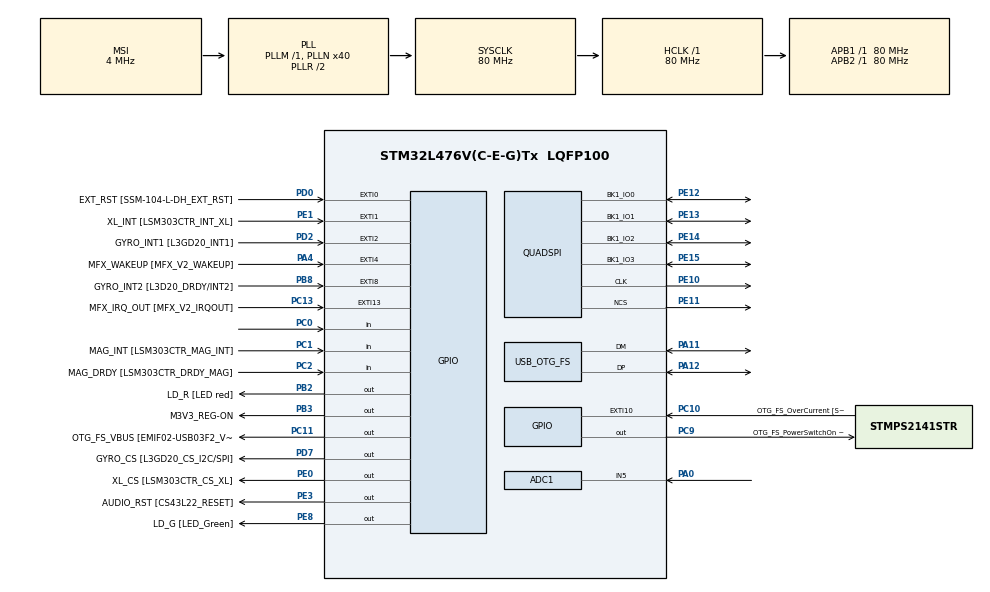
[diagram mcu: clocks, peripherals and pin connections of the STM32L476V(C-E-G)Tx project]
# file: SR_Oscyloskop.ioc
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ADC1.Channel-9\#ChannelRegularConversion=ADC_CHANNEL_5
ADC1.ContinuousConvMode=DISABLE
ADC1.EOCSelection=ADC_EOC_SINGLE_CONV
ADC1.ExternalTrigConv=ADC_SOFTWARE_START
ADC1.NbrOfConversion=1
ADC1.NbrOfConversionFlag=1
ADC1.OffsetNumber-9\#ChannelRegularConversion=ADC_OFFSET_NONE
ADC1.Overrun=ADC_OVR_DATA_OVERWRITTEN
ADC1.Rank-9\#ChannelRegularConversion=1
ADC1.Resolution=ADC_RESOLUTION_8B
ADC1.SamplingTime-9\#ChannelRegularConversion=ADC_SAMPLETIME_12CYCLES_5
ADC1.master=1
Mcu.Family=STM32L4
Mcu.Name=STM32L476V(C-E-G)Tx
Mcu.Package=LQFP100
NVIC.ADC1_2_IRQn=true\:0\:0\:false\:false\:true\:true
NVIC.OTG_FS_IRQn=true\:0\:0\:false\:false\:true\:false
NVIC.PriorityGroup=NVIC_PRIORITYGROUP_4
NVIC.TIM6_DAC_IRQn=true\:0\:0\:true\:false\:true\:true
PA0.Signal=ADCx_IN5
PA11.Mode=Device_Only
PA11.Signal=USB_OTG_FS_DM
PA12.Mode=Device_Only
PA12.Signal=USB_OTG_FS_DP
PA13\ (JTMS-SWDIO).Mode=Serial_Wire
PA13\ (JTMS-SWDIO).Signal=SYS_JTMS-SWDIO
PA14\ (JTCK-SWCLK).Mode=Serial_Wire
PA14\ (JTCK-SWCLK).Signal=SYS_JTCK-SWCLK
PA4.GPIO_Label=MFX_WAKEUP [MFX_V2_WAKEUP]
PA4.GPIO_ModeDefaultEXTI=GPIO_MODE_EVT_RISING
PA4.GPIO_PuPd=GPIO_NOPULL
PA4.Signal=GPXTI4
PA6.Signal=OPAMP2_VINP
PB2.GPIO_Label=LD_R [LED red]
PB2.GPIO_ModeDefaultOutputPP=GPIO_MODE_OUTPUT_PP
PB2.GPIO_PuPd=GPIO_PULLUP
PB2.GPIO_Speed=GPIO_SPEED_FREQ_VERY_HIGH
PB2.Signal=GPIO_Output
PB3\ (JTDO-TRACESWO).GPIO_Label=M3V3_REG-ON
PB3\ (JTDO-TRACESWO).GPIO_ModeDefaultOutputPP=GPIO_MODE_OUTPUT_PP
PB3\ (JTDO-TRACESWO).GPIO_PuPd=GPIO_NOPULL
PB3\ (JTDO-TRACESWO).GPIO_Speed=GPIO_SPEED_FREQ_LOW
PB3\ (JTDO-TRACESWO).Signal=GPIO_Output
PB8.GPIO_Label=GYRO_INT2 [L3D20_DRDY/INT2]
PB8.GPIO_ModeDefaultEXTI=GPIO_MODE_EVT_RISING
PB8.GPIO_PuPd=GPIO_NOPULL
PB8.Signal=GPXTI8
PC0.Signal=GPIO_Input
PC1.GPIO_Label=MAG_INT [LSM303CTR_MAG_INT]
PC1.GPIO_Mode=GPIO_MODE_INPUT
PC1.GPIO_PuPd=GPIO_NOPULL
PC1.Signal=GPIO_Input
PC10.GPIO_Label=OTG_FS_OverCurrent [STMPS2141STR_FAULT]
PC10.GPIO_ModeDefaultEXTI=GPIO_MODE_EVT_RISING
PC10.GPIO_PuPd=GPIO_NOPULL
PC10.Signal=GPXTI10
PC11.GPIO_Label=OTG_FS_VBUS [EMIF02-USB03F2_Vbus]
PC11.GPIO_ModeDefaultOutputPP=GPIO_MODE_OUTPUT_PP
PC11.GPIO_PuPd=GPIO_NOPULL
PC11.GPIO_Speed=GPIO_SPEED_FREQ_LOW
PC11.Signal=GPIO_Output
PC13.GPIO_Label=MFX_IRQ_OUT [MFX_V2_IRQOUT]
PC13.GPIO_ModeDefaultEXTI=GPIO_MODE_EVT_RISING
PC13.GPIO_PuPd=GPIO_NOPULL
PC13.Signal=GPXTI13
PC14-OSC32_IN\ (PC14).Mode=LSE-External-Oscillator
PC14-OSC32_IN\ (PC14).Signal=RCC_OSC32_IN
PC15-OSC32_OUT\ (PC15).Mode=LSE-External-Oscillator
PC15-OSC32_OUT\ (PC15).Signal=RCC_OSC32_OUT
PC2.GPIO_Label=MAG_DRDY [LSM303CTR_DRDY_MAG]
PC2.GPIO_Mode=GPIO_MODE_INPUT
PC2.GPIO_PuPd=GPIO_NOPULL
PC2.Signal=GPIO_Input
PC9.GPIO_Label=OTG_FS_PowerSwitchOn [STMPS2141STR_EN]
PC9.GPIO_ModeDefaultOutputPP=GPIO_MODE_OUTPUT_PP
PC9.GPIO_PuPd=GPIO_NOPULL
PC9.GPIO_Speed=GPIO_SPEED_FREQ_LOW
PC9.PinState=GPIO_PIN_SET
PC9.Signal=GPIO_Output
PD0.GPIO_Label=EXT_RST [SSM-104-L-DH_EXT_RST]
PD0.GPIO_ModeDefaultEXTI=GPIO_MODE_EVT_RISING
PD0.GPIO_PuPd=GPIO_NOPULL
PD0.Signal=GPXTI0
PD2.GPIO_Label=GYRO_INT1 [L3GD20_INT1]
PD2.GPIO_ModeDefaultEXTI=GPIO_MODE_EVT_RISING
PD2.GPIO_PuPd=GPIO_NOPULL
PD2.Signal=GPXTI2
PD7.GPIO_Label=GYRO_CS [L3GD20_CS_I2C/SPI]
PD7.GPIO_ModeDefaultOutputPP=GPIO_MODE_OUTPUT_PP
PD7.GPIO_PuPd=GPIO_NOPULL
PD7.GPIO_Speed=GPIO_SPEED_FREQ_VERY_HIGH
PD7.Signal=GPIO_Output
PE0.GPIO_Label=XL_CS [LSM303CTR_CS_XL]
PE0.GPIO_ModeDefaultOutputPP=GPIO_MODE_OUTPUT_PP
PE0.GPIO_PuPd=GPIO_NOPULL
PE0.GPIO_Speed=GPIO_SPEED_FREQ_LOW
PE0.Signal=GPIO_Output
PE1.GPIO_Label=XL_INT [LSM303CTR_INT_XL]
PE1.GPIO_ModeDefaultEXTI=GPIO_MODE_EVT_RISING
PE1.GPIO_PuPd=GPIO_NOPULL
PE1.Signal=GPXTI1
PE10.Mode=Single Bank
PE10.Signal=QUADSPI_CLK
PE11.Mode=Single Bank
PE11.Signal=QUADSPI_NCS
PE12.Mode=Single Bank
PE12.Signal=QUADSPI_BK1_IO0
PE13.Mode=Single Bank
PE13.Signal=QUADSPI_BK1_IO1
PE14.Mode=Single Bank
PE14.Signal=QUADSPI_BK1_IO2
PE15.Mode=Single Bank
PE15.Signal=QUADSPI_BK1_IO3
PE3.GPIO_Label=AUDIO_RST [CS43L22_RESET]
PE3.GPIO_ModeDefaultOutputPP=GPIO_MODE_OUTPUT_PP
PE3.GPIO_PuPd=GPIO_NOPULL
PE3.GPIO_Speed=GPIO_SPEED_FREQ_HIGH
PE3.Signal=GPIO_Output
PE8.GPIO_Label=LD_G [LED_Green]
PE8.GPIO_ModeDefaultOutputPP=GPIO_MODE_OUTPUT_PP
PE8.GPIO_PuPd=GPIO_PULLUP
PE8.GPIO_Speed=GPIO_SPEED_FREQ_VERY_HIGH
PE8.Signal=GPIO_Output
PH0-OSC_IN\ (PH0).Mode=HSE-External-Oscillator
PH0-OSC_IN\ (PH0).Signal=RCC_OSC_IN
PH1-OSC_OUT\ (PH1).Mode=HSE-External-Oscillator
PH1-OSC_OUT\ (PH1).Signal=RCC_OSC_OUT
ProjectManager.HeapSize=0x200
ProjectManager.StackSize=0x400
ProjectManager.TargetToolchain=SW4STM32
QUADSPI.FlashSize-Single\ Bank=1
RCC.ADCCLockSelection=RCC_ADCCLKSOURCE_SYSCLK
RCC.ADCFreq_Value=80000000
RCC.AHBFreq_Value=80000000
RCC.APB1Freq_Value=80000000
RCC.APB1TimFreq_Value=80000000
RCC.APB2Freq_Value=80000000
RCC.APB2TimFreq_Value=80000000
RCC.CortexFreq_Value=80000000
RCC.HCLKFreq_Value=80000000
RCC.HSE_VALUE=8000000
RCC.HSI_VALUE=16000000
RCC.MSI_VALUE=4000000
RCC.PLLN=40
RCC.PLLSAI1N=24
RCC.PREFETCH_ENABLE=1
RCC.SYSCLKFreq_VALUE=80000000
RCC.SYSCLKSource=RCC_SYSCLKSOURCE_PLLCLK
RCC.USBFreq_Value=48000000
RCC.VCOOutputFreq_Value=160000000
SH.ADCx_IN5.0=ADC1_IN5,IN5-Single-Ended
TIM6.Period=99
TIM6.Prescaler=79
TIM6.TIM_MasterOutputTrigger=TIM_TRGO_UPDATE
USB_DEVICE.CLASS_NAME_FS=CDC
USB_DEVICE.USBD_LPM_ENABLED=0
USB_DEVICE.VirtualMode=Cdc
USB_DEVICE.VirtualModeFS=Cdc_FS
USB_OTG_FS.VirtualMode=Device_Only
USB_OTG_FS.lpm_enable=DISABLE
VP_TIM6_VS_ClockSourceINT.Mode=Enable_Timer
VP_USB_DEVICE_VS_USB_DEVICE_CDC_FS.Mode=CDC_FS
board=32L476GDISCOVERY

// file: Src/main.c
/* USER CODE BEGIN Header */
/**
  ******************************************************************************
  * @file           : main.c
  * @brief          : Main program body
  ******************************************************************************
  * This notice applies to any and all portions of this file
  * that are not between comment pairs USER CODE BEGIN and
  * USER CODE END. Other portions of this file, whether
  * inserted by the user or by software development tools
  * are owned by their respective copyright owners.
  *
  * Copyright (c) 2019 STMicroelectronics International N.V.
  * All rights reserved.
  *
  * Redistribution and use in source and binary forms, with or without
  * modification, are permitted, provided that the following conditions are met:
  *
  * 1. Redistribution of source code must retain the above copyright notice,
  *    this list of conditions and the following disclaimer.
  * 2. Redistributions in binary form must reproduce the above copyright notice,
  *    this list of conditions and the following disclaimer in the documentation
  *    and/or other materials provided with the distribution.
  * 3. Neither the name of STMicroelectronics nor the names of other
  *    contributors to this software may be used to endorse or promote products
  *    derived from this software without specific written permission.
  * 4. This software, including modifications and/or derivative works of this
  *    software, must execute solely and exclusively on microcontroller or
  *    microprocessor devices manufactured by or for STMicroelectronics.
  * 5. Redistribution and use of this software other than as permitted under
  *    this license is void and will automatically terminate your rights under
  *    this license.
  *
  * THIS SOFTWARE IS PROVIDED BY STMICROELECTRONICS AND CONTRIBUTORS "AS IS"
  * AND ANY EXPRESS, IMPLIED OR STATUTORY WARRANTIES, INCLUDING, BUT NOT
  * LIMITED TO, THE IMPLIED WARRANTIES OF MERCHANTABILITY, FITNESS FOR A
  * PARTICULAR PURPOSE AND NON-INFRINGEMENT OF THIRD PARTY INTELLECTUAL PROPERTY
  * RIGHTS ARE DISCLAIMED TO THE FULLEST EXTENT PERMITTED BY LAW. IN NO EVENT
  * SHALL STMICROELECTRONICS OR CONTRIBUTORS BE LIABLE FOR ANY DIRECT, INDIRECT,
  * INCIDENTAL, SPECIAL, EXEMPLARY, OR CONSEQUENTIAL DAMAGES (INCLUDING, BUT NOT
  * LIMITED TO, PROCUREMENT OF SUBSTITUTE GOODS OR SERVICES; LOSS OF USE, DATA,
  * OR PROFITS; OR BUSINESS INTERRUPTION) HOWEVER CAUSED AND ON ANY THEORY OF
  * LIABILITY, WHETHER IN CONTRACT, STRICT LIABILITY, OR TORT (INCLUDING
  * NEGLIGENCE OR OTHERWISE) ARISING IN ANY WAY OUT OF THE USE OF THIS SOFTWARE,
  * EVEN IF ADVISED OF THE POSSIBILITY OF SUCH DAMAGE.
  *
  ******************************************************************************
  */
/* USER CODE END Header */

#include "main.h"
#include "usb_device.h"

ADC_HandleTypeDef hadc1;

QSPI_HandleTypeDef hqspi;

TIM_HandleTypeDef htim6;

void SystemClock_Config(void);
static void MX_GPIO_Init(void);
static void MX_QUADSPI_Init(void);
static void MX_TIM6_Init(void);
static void MX_ADC1_Init(void);
/* USER CODE BEGIN PFP */
// Placeholder
#define BUFFER_LENGTH 4096
#define BUFFERS_COUNT 1
uint8_t adc_value = 0;

uint8_t sample_buffers[BUFFERS_COUNT][BUFFER_LENGTH];

int current_buffer = 0;
int current_sample = 0;

int send_buffer = 0;
int send_buffer_index = 0;

/* USER CODE END PFP */

/* USER CODE BEGIN 0 */
void HAL_TIM_PeriodElapsedCallback(TIM_HandleTypeDef* htim)
{

	HAL_ADC_Start_IT(&hadc1 ) ;
}

void HAL_ADC_ConvCpltCallback(ADC_HandleTypeDef* hadc){
	sample_buffers[current_buffer][current_sample] =  HAL_ADC_GetValue(&hadc1);

	if(++current_sample >=BUFFER_LENGTH)
	{
		current_sample = 0;

		if(++current_buffer >= BUFFERS_COUNT)
		{
			send_buffer_index = current_buffer - 1;
			send_buffer = 1;
			current_buffer = 0;
		}
	}
}
/* USER CODE END 0 */

int main(void)
{

  /* MCU Configuration--------------------------------------------------------*/

  /* Reset of all peripherals, Initializes the Flash interface and the Systick. */
  HAL_Init();

  /* Configure the system clock */
  SystemClock_Config();

  /* Initialize all configured peripherals */
  MX_GPIO_Init();
  MX_QUADSPI_Init();
  MX_USB_DEVICE_Init();
  MX_TIM6_Init();
  MX_ADC1_Init();
  /* USER CODE BEGIN 2 */

  HAL_ADC_Start_IT(&hadc1);
  HAL_TIM_Base_Start_IT(&htim6);

  /* USER CODE END 2 */

  /* Infinite loop */
  /* USER CODE BEGIN WHILE */
  while (1)
  {
	  if(send_buffer)
	  {
		  USB_SendSamples(sample_buffers[send_buffer_index], BUFFER_LENGTH);
		  send_buffer = 0;
	  }

    /* USER CODE END WHILE */

  }
}

void SystemClock_Config(void)
{
  RCC_OscInitTypeDef RCC_OscInitStruct = {0};
  RCC_ClkInitTypeDef RCC_ClkInitStruct = {0};
  RCC_PeriphCLKInitTypeDef PeriphClkInit = {0};

  /**Configure LSE Drive Capability
  */
  HAL_PWR_EnableBkUpAccess();
  __HAL_RCC_LSEDRIVE_CONFIG(RCC_LSEDRIVE_LOW);
  /**Initializes the CPU, AHB and APB busses clocks
  */
  RCC_OscInitStruct.OscillatorType = RCC_OSCILLATORTYPE_LSE|RCC_OSCILLATORTYPE_MSI;
  RCC_OscInitStruct.LSEState = RCC_LSE_ON;
  RCC_OscInitStruct.MSIState = RCC_MSI_ON;
  RCC_OscInitStruct.MSICalibrationValue = 0;
  RCC_OscInitStruct.MSIClockRange = RCC_MSIRANGE_6;
  RCC_OscInitStruct.PLL.PLLState = RCC_PLL_ON;
  RCC_OscInitStruct.PLL.PLLSource = RCC_PLLSOURCE_MSI;
  RCC_OscInitStruct.PLL.PLLM = 1;
  RCC_OscInitStruct.PLL.PLLN = 40;
  RCC_OscInitStruct.PLL.PLLP = RCC_PLLP_DIV7;
  RCC_OscInitStruct.PLL.PLLQ = RCC_PLLQ_DIV2;
  RCC_OscInitStruct.PLL.PLLR = RCC_PLLR_DIV2;
  if (HAL_RCC_OscConfig(&RCC_OscInitStruct) != HAL_OK)
  {
    Error_Handler();
  }
  /**Initializes the CPU, AHB and APB busses clocks
  */
  RCC_ClkInitStruct.ClockType = RCC_CLOCKTYPE_HCLK|RCC_CLOCKTYPE_SYSCLK
                              |RCC_CLOCKTYPE_PCLK1|RCC_CLOCKTYPE_PCLK2;
  RCC_ClkInitStruct.SYSCLKSource = RCC_SYSCLKSOURCE_PLLCLK;
  RCC_ClkInitStruct.AHBCLKDivider = RCC_SYSCLK_DIV1;
  RCC_ClkInitStruct.APB1CLKDivider = RCC_HCLK_DIV1;
  RCC_ClkInitStruct.APB2CLKDivider = RCC_HCLK_DIV1;

  if (HAL_RCC_ClockConfig(&RCC_ClkInitStruct, FLASH_LATENCY_4) != HAL_OK)
  {
    Error_Handler();
  }
  PeriphClkInit.PeriphClockSelection = RCC_PERIPHCLK_USB|RCC_PERIPHCLK_ADC;
  PeriphClkInit.AdcClockSelection = RCC_ADCCLKSOURCE_SYSCLK;
  PeriphClkInit.UsbClockSelection = RCC_USBCLKSOURCE_PLLSAI1;
  PeriphClkInit.PLLSAI1.PLLSAI1Source = RCC_PLLSOURCE_MSI;
  PeriphClkInit.PLLSAI1.PLLSAI1M = 1;
  PeriphClkInit.PLLSAI1.PLLSAI1N = 24;
  PeriphClkInit.PLLSAI1.PLLSAI1P = RCC_PLLP_DIV7;
  PeriphClkInit.PLLSAI1.PLLSAI1Q = RCC_PLLQ_DIV2;
  PeriphClkInit.PLLSAI1.PLLSAI1R = RCC_PLLR_DIV2;
  PeriphClkInit.PLLSAI1.PLLSAI1ClockOut = RCC_PLLSAI1_48M2CLK;
  if (HAL_RCCEx_PeriphCLKConfig(&PeriphClkInit) != HAL_OK)
  {
    Error_Handler();
  }
  /**Configure the main internal regulator output voltage
  */
  if (HAL_PWREx_ControlVoltageScaling(PWR_REGULATOR_VOLTAGE_SCALE1) != HAL_OK)
  {
    Error_Handler();
  }
  /**Enable MSI Auto calibration
  */
  HAL_RCCEx_EnableMSIPLLMode();
}

static void MX_ADC1_Init(void)
{

  ADC_MultiModeTypeDef multimode = {0};
  ADC_ChannelConfTypeDef sConfig = {0};

  /**Common config
  */
  hadc1.Instance = ADC1;
  hadc1.Init.ClockPrescaler = ADC_CLOCK_ASYNC_DIV1;
  hadc1.Init.Resolution = ADC_RESOLUTION_8B;
  hadc1.Init.DataAlign = ADC_DATAALIGN_RIGHT;
  hadc1.Init.ScanConvMode = ADC_SCAN_DISABLE;
  hadc1.Init.EOCSelection = ADC_EOC_SINGLE_CONV;
  hadc1.Init.LowPowerAutoWait = DISABLE;
  hadc1.Init.ContinuousConvMode = DISABLE;
  hadc1.Init.NbrOfConversion = 1;
  hadc1.Init.DiscontinuousConvMode = DISABLE;
  hadc1.Init.ExternalTrigConv = ADC_SOFTWARE_START;
  hadc1.Init.ExternalTrigConvEdge = ADC_EXTERNALTRIGCONVEDGE_NONE;
  hadc1.Init.DMAContinuousRequests = DISABLE;
  hadc1.Init.Overrun = ADC_OVR_DATA_OVERWRITTEN;
  hadc1.Init.OversamplingMode = DISABLE;
  if (HAL_ADC_Init(&hadc1) != HAL_OK)
  {
    Error_Handler();
  }
  /**Configure the ADC multi-mode
  */
  multimode.Mode = ADC_MODE_INDEPENDENT;
  if (HAL_ADCEx_MultiModeConfigChannel(&hadc1, &multimode) != HAL_OK)
  {
    Error_Handler();
  }
  /**Configure Regular Channel
  */
  sConfig.Channel = ADC_CHANNEL_5;
  sConfig.Rank = ADC_REGULAR_RANK_1;
  sConfig.SamplingTime = ADC_SAMPLETIME_12CYCLES_5;
  sConfig.SingleDiff = ADC_SINGLE_ENDED;
  sConfig.OffsetNumber = ADC_OFFSET_NONE;
  sConfig.Offset = 0;
  if (HAL_ADC_ConfigChannel(&hadc1, &sConfig) != HAL_OK)
  {
    Error_Handler();
  }

}

static void MX_QUADSPI_Init(void)
{

  /* QUADSPI parameter configuration*/
  hqspi.Instance = QUADSPI;
  hqspi.Init.ClockPrescaler = 255;
  hqspi.Init.FifoThreshold = 1;
  hqspi.Init.SampleShifting = QSPI_SAMPLE_SHIFTING_NONE;
  hqspi.Init.FlashSize = 1;
  hqspi.Init.ChipSelectHighTime = QSPI_CS_HIGH_TIME_1_CYCLE;
  hqspi.Init.ClockMode = QSPI_CLOCK_MODE_0;
  if (HAL_QSPI_Init(&hqspi) != HAL_OK)
  {
    Error_Handler();
  }

}

static void MX_TIM6_Init(void)
{

  TIM_MasterConfigTypeDef sMasterConfig = {0};

  htim6.Instance = TIM6;
  htim6.Init.Prescaler = 79;
  htim6.Init.CounterMode = TIM_COUNTERMODE_UP;
  htim6.Init.Period = 99;
  htim6.Init.AutoReloadPreload = TIM_AUTORELOAD_PRELOAD_DISABLE;
  if (HAL_TIM_Base_Init(&htim6) != HAL_OK)
  {
    Error_Handler();
  }
  sMasterConfig.MasterOutputTrigger = TIM_TRGO_UPDATE;
  sMasterConfig.MasterSlaveMode = TIM_MASTERSLAVEMODE_DISABLE;
  if (HAL_TIMEx_MasterConfigSynchronization(&htim6, &sMasterConfig) != HAL_OK)
  {
    Error_Handler();
  }

}

static void MX_GPIO_Init(void)
{
  GPIO_InitTypeDef GPIO_InitStruct = {0};

  /* GPIO Ports Clock Enable */
  __HAL_RCC_GPIOE_CLK_ENABLE();
  __HAL_RCC_GPIOC_CLK_ENABLE();
  __HAL_RCC_GPIOH_CLK_ENABLE();
  __HAL_RCC_GPIOA_CLK_ENABLE();
  __HAL_RCC_GPIOB_CLK_ENABLE();
  __HAL_RCC_GPIOD_CLK_ENABLE();

  /*Configure GPIO pin Output Level */
  HAL_GPIO_WritePin(GPIOE, AUDIO_RST_Pin|LD_G_Pin|XL_CS_Pin, GPIO_PIN_RESET);

  /*Configure GPIO pin Output Level */
  HAL_GPIO_WritePin(GPIOB, LD_R_Pin|M3V3_REG_ON_Pin, GPIO_PIN_RESET);

  /*Configure GPIO pin Output Level */
  HAL_GPIO_WritePin(OTG_FS_PowerSwitchOn_GPIO_Port, OTG_FS_PowerSwitchOn_Pin, GPIO_PIN_SET);

  /*Configure GPIO pin Output Level */
  HAL_GPIO_WritePin(OTG_FS_VBUS_GPIO_Port, OTG_FS_VBUS_Pin, GPIO_PIN_RESET);

  /*Configure GPIO pin Output Level */
  HAL_GPIO_WritePin(GYRO_CS_GPIO_Port, GYRO_CS_Pin, GPIO_PIN_RESET);

  /*Configure GPIO pin : AUDIO_RST_Pin */
  GPIO_InitStruct.Pin = AUDIO_RST_Pin;
  GPIO_InitStruct.Mode = GPIO_MODE_OUTPUT_PP;
  GPIO_InitStruct.Pull = GPIO_NOPULL;
  GPIO_InitStruct.Speed = GPIO_SPEED_FREQ_HIGH;
  HAL_GPIO_Init(AUDIO_RST_GPIO_Port, &GPIO_InitStruct);

  /*Configure GPIO pins : MFX_IRQ_OUT_Pin OTG_FS_OverCurrent_Pin */
  GPIO_InitStruct.Pin = MFX_IRQ_OUT_Pin|OTG_FS_OverCurrent_Pin;
  GPIO_InitStruct.Mode = GPIO_MODE_EVT_RISING;
  GPIO_InitStruct.Pull = GPIO_NOPULL;
  HAL_GPIO_Init(GPIOC, &GPIO_InitStruct);

  /*Configure GPIO pins : PC0 MAG_INT_Pin MAG_DRDY_Pin */
  GPIO_InitStruct.Pin = GPIO_PIN_0|MAG_INT_Pin|MAG_DRDY_Pin;
  GPIO_InitStruct.Mode = GPIO_MODE_INPUT;
  GPIO_InitStruct.Pull = GPIO_NOPULL;
  HAL_GPIO_Init(GPIOC, &GPIO_InitStruct);

  /*Configure GPIO pin : MFX_WAKEUP_Pin */
  GPIO_InitStruct.Pin = MFX_WAKEUP_Pin;
  GPIO_InitStruct.Mode = GPIO_MODE_EVT_RISING;
  GPIO_InitStruct.Pull = GPIO_NOPULL;
  HAL_GPIO_Init(MFX_WAKEUP_GPIO_Port, &GPIO_InitStruct);

  /*Configure GPIO pin : PA6 */
  GPIO_InitStruct.Pin = GPIO_PIN_6;
  GPIO_InitStruct.Mode = GPIO_MODE_ANALOG;
  GPIO_InitStruct.Pull = GPIO_NOPULL;
  HAL_GPIO_Init(GPIOA, &GPIO_InitStruct);

  /*Configure GPIO pin : LD_R_Pin */
  GPIO_InitStruct.Pin = LD_R_Pin;
  GPIO_InitStruct.Mode = GPIO_MODE_OUTPUT_PP;
  GPIO_InitStruct.Pull = GPIO_PULLUP;
  GPIO_InitStruct.Speed = GPIO_SPEED_FREQ_VERY_HIGH;
  HAL_GPIO_Init(LD_R_GPIO_Port, &GPIO_InitStruct);

  /*Configure GPIO pin : LD_G_Pin */
  GPIO_InitStruct.Pin = LD_G_Pin;
  GPIO_InitStruct.Mode = GPIO_MODE_OUTPUT_PP;
  GPIO_InitStruct.Pull = GPIO_PULLUP;
  GPIO_InitStruct.Speed = GPIO_SPEED_FREQ_VERY_HIGH;
  HAL_GPIO_Init(LD_G_GPIO_Port, &GPIO_InitStruct);

  /*Configure GPIO pins : OTG_FS_PowerSwitchOn_Pin OTG_FS_VBUS_Pin */
  GPIO_InitStruct.Pin = OTG_FS_PowerSwitchOn_Pin|OTG_FS_VBUS_Pin;
  GPIO_InitStruct.Mode = GPIO_MODE_OUTPUT_PP;
  GPIO_InitStruct.Pull = GPIO_NOPULL;
  GPIO_InitStruct.Speed = GPIO_SPEED_FREQ_LOW;
  HAL_GPIO_Init(GPIOC, &GPIO_InitStruct);

  /*Configure GPIO pins : EXT_RST_Pin GYRO_INT1_Pin */
  GPIO_InitStruct.Pin = EXT_RST_Pin|GYRO_INT1_Pin;
  GPIO_InitStruct.Mode = GPIO_MODE_EVT_RISING;
  GPIO_InitStruct.Pull = GPIO_NOPULL;
  HAL_GPIO_Init(GPIOD, &GPIO_InitStruct);

  /*Configure GPIO pin : GYRO_CS_Pin */
  GPIO_InitStruct.Pin = GYRO_CS_Pin;
  GPIO_InitStruct.Mode = GPIO_MODE_OUTPUT_PP;
  GPIO_InitStruct.Pull = GPIO_NOPULL;
  GPIO_InitStruct.Speed = GPIO_SPEED_FREQ_VERY_HIGH;
  HAL_GPIO_Init(GYRO_CS_GPIO_Port, &GPIO_InitStruct);

  /*Configure GPIO pin : M3V3_REG_ON_Pin */
  GPIO_InitStruct.Pin = M3V3_REG_ON_Pin;
  GPIO_InitStruct.Mode = GPIO_MODE_OUTPUT_PP;
  GPIO_InitStruct.Pull = GPIO_NOPULL;
  GPIO_InitStruct.Speed = GPIO_SPEED_FREQ_LOW;
  HAL_GPIO_Init(M3V3_REG_ON_GPIO_Port, &GPIO_InitStruct);

  /*Configure GPIO pin : GYRO_INT2_Pin */
  GPIO_InitStruct.Pin = GYRO_INT2_Pin;
  GPIO_InitStruct.Mode = GPIO_MODE_EVT_RISING;
  GPIO_InitStruct.Pull = GPIO_NOPULL;
  HAL_GPIO_Init(GYRO_INT2_GPIO_Port, &GPIO_InitStruct);

  /*Configure GPIO pin : XL_CS_Pin */
  GPIO_InitStruct.Pin = XL_CS_Pin;
  GPIO_InitStruct.Mode = GPIO_MODE_OUTPUT_PP;
  GPIO_InitStruct.Pull = GPIO_NOPULL;
  GPIO_InitStruct.Speed = GPIO_SPEED_FREQ_LOW;
  HAL_GPIO_Init(XL_CS_GPIO_Port, &GPIO_InitStruct);

  /*Configure GPIO pin : XL_INT_Pin */
  GPIO_InitStruct.Pin = XL_INT_Pin;
  GPIO_InitStruct.Mode = GPIO_MODE_EVT_RISING;
  GPIO_InitStruct.Pull = GPIO_NOPULL;
  HAL_GPIO_Init(XL_INT_GPIO_Port, &GPIO_InitStruct);

}

void Error_Handler(void)
{
}

/************************ (C) COPYRIGHT STMicroelectronics *****END OF FILE****/
